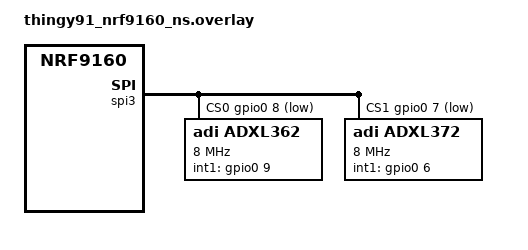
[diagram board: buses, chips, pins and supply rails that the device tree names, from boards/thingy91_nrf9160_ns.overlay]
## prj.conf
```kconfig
CONFIG_LOG=y
CONFIG_SPI=y
CONFIG_GPIO=y
CONFIG_LOG_MODE_IMMEDIATE=y
```

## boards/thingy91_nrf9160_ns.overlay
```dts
my_spi_master: &spi3 {
	compatible = "nordic,nrf-spim";
	status = "okay";
	cs-gpios = <&gpio0 8 GPIO_ACTIVE_LOW>, <&gpio0 7 GPIO_ACTIVE_LOW>;

	pinctrl-0 = <&spi3_default>;
	pinctrl-1 = <&spi3_sleep>;
	pinctrl-names = "default", "sleep";
	adxl362: adxl362@0 {
		compatible = "adi,adxl362";
		spi-max-frequency = <8000000>;
		reg = <0>;
		int1-gpios = <&gpio0 9 0>;
	};

	adxl372: adxl372@1 {
		compatible = "adi,adxl372";
		spi-max-frequency = <8000000>;
		reg = <1>;
		int1-gpios = <&gpio0 6 0>;
	};
};
```

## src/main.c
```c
#include <stdio.h>
#include <stdlib.h>
#include <zephyr/kernel.h>
#include <zephyr/drivers/spi.h>
#include <zephyr/device.h>

#define LOG_LEVEL CONFIG_LOG_DEFAULT_LEVEL
#include <zephyr/logging/log.h>
LOG_MODULE_REGISTER(main);

#define ADXL362_WRITE_REG 0x0A
#define ADXL362_READ_REG 0x0B
#define ADXL362_READ_FIFO 0x0D

#define ADXL362_REG_DEVID_AD 0x00
#define ADXL362_REG_DEVID_MST 0x01

static int readRegister(uint8_t reg, uint8_t *values, uint8_t size);

#define MY_SPI_MASTER DT_ALIAS(adxl362)
struct spi_dt_spec spec = SPI_DT_SPEC_GET(DT_NODELABEL(adxl362), SPI_WORD_SET(8) | SPI_MODE_GET(0), 1);

int main(void)
{
	int err;
	printk("Program started \n");
	if (spi_is_ready(&spec) == true)
	{
		printk("SPI is ready \n");
	}
	else
	{
		printk("SPI is not ready \n");
	}

	uint8_t values[3];
	while (1)
	{
		int ret = readRegister(ADXL362_REG_DEVID_MST, values, 3);
		if (ret == 0)
		{
			printk("Read chip ID failed \n");
			k_msleep(1000);
		}
		else
		{
			printk("Register chip ID:%.2x\n", values[2]);
			k_msleep(1000);
		}
	}
	return 0;
}

// According to the ADXL362 datasheet (https://www.analog.com/media/en/technical-documentation/data-sheets/adxl362.pdf)
// Figure 36, we follow multi byte structure where first byte is ADXL362_READ_REG and second byte is the register address
static int readRegister(uint8_t reg, uint8_t *values, uint8_t size)
{
	int err;
	uint8_t tx_buffer[2];
	tx_buffer[0] = ADXL362_READ_REG;
	tx_buffer[1] = reg;

	struct spi_buf tx_spi_buf = {
		.buf = tx_buffer,
		.len = sizeof(tx_buffer)};

	struct spi_buf_set spi_tx_buffer_set = {
		.buffers = &tx_spi_buf,
		.count = 1};

	struct spi_buf rx_spi_buf = {
		.buf = values,
		.len = size};

	struct spi_buf_set spi_rx_buffer_set = {
		.buffers = &rx_spi_buf,
		.count = 1};



	err = spi_transceive_dt(&spec, &spi_tx_buffer_set, &spi_rx_buffer_set);

	if (err)
	{
		printk("SPI error: %d\n", err);
		return 0;
	}
	return 1;
}
```
